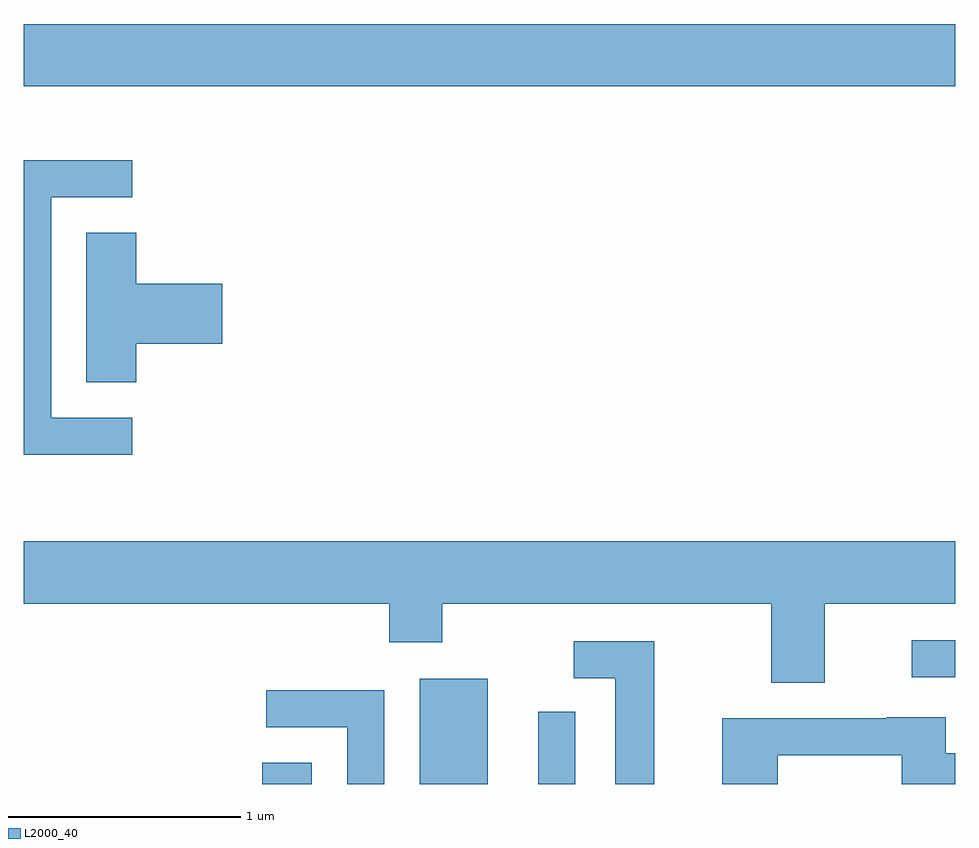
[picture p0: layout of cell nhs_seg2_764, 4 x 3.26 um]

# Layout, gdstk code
import gdstk
lib = gdstk.Library(unit=1e-6, precision=1e-09)
def R(c, l, rs):  # rectangles x0, y0, x1, y1
    for r in rs: c.add(gdstk.rectangle(r[:2], r[2:], *l))
def P(c, l, *ps):  # polygons
    for p in ps: c.add(gdstk.Polygon(p, *l))
L2000_40 = (2000, 40)

nhs_seg2_764 = lib.new_cell('nhs_seg2_764')
R(nhs_seg2_764, L2000_40, [(208.636,1009.802,208.849,1009.894), (209.311,1009.802,209.604,1010.254), (209.821,1009.802,209.979,1010.113), (211.423,1010.261,211.611,1010.419), (207.611,1012.796,211.611,1013.064)])
P(nhs_seg2_764, L2000_40, [(208.078,1011.374),(207.729,1011.374),(207.729,1012.321),(208.078,1012.321),(208.078,1012.479),(207.611,1012.479),(207.611,1011.216),(208.078,1011.216)],
  [(208.094,1011.691),(208.464,1011.691),(208.464,1011.949),(208.094,1011.949),(208.094,1012.169),(207.881,1012.169),(207.881,1011.526),(208.094,1011.526)],
  [(211.049,1010.576),(211.611,1010.576),(211.611,1010.844),(207.611,1010.844),(207.611,1010.576),(209.181,1010.576),(209.181,1010.411),(209.409,1010.411),(209.409,1010.576),(210.821,1010.576),(210.821,1010.236),(211.049,1010.236)],
  [(210.319,1010.414),(209.973,1010.414),(209.973,1010.256),(210.151,1010.256),(210.151,1009.802),(210.319,1009.802)],
  [(209.159,1010.204),(208.653,1010.204),(208.653,1010.046),(209.001,1010.046),(209.001,1009.802),(209.159,1009.802)],
  [(210.849,1009.926),(211.381,1009.926),(211.381,1009.802),(211.611,1009.802),(211.611,1009.934),(211.569,1009.934),(211.569,1010.089),(211.315,1010.089),(211.315,1010.084),(210.611,1010.084),(210.611,1009.802),(210.849,1009.802)])

lib.write_gds('nhs_seg2_764.gds')
